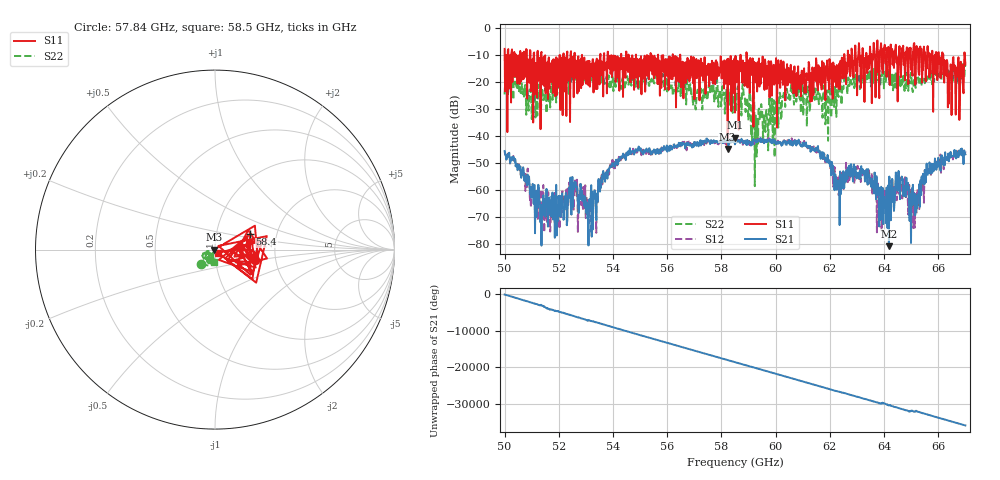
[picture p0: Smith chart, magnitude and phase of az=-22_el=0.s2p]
!Created with skrf (http://scikit-rf.org).
# GHz S RI R 50.0
!freq ReS11 ImS11 ReS21 ImS21 ReS12 ImS12 ReS22 ImS22
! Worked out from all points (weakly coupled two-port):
!   1001 points, 50 GHz to 67 GHz, reference 50 ohm
!   highest |S21| = -40.74 dB at 58.52 GHz (marker M1); lowest = -80.9 dB at 64.18 GHz (marker M2)
!   lowest |S11| = -44.9 dB at 58.23 GHz (marker M3), VSWR 1.01, Z = 49.4 - j0.0799 ohm
!   |S11| at or under -10 dB: 52.59 GHz to 53.53 GHz (947.1 MHz wide, 1.78 % of centre); 56.21 GHz to 58.92 GHz (2.718 GHz wide, 4.72 % of centre); 58.93 GHz to 62.53 GHz (3.599 GHz wide, 5.93 % of centre) (the widest 3 of 65)
!   |S22| runs from -58.7 to -13.2 dB; largest |S21 - S12| = 0.0024
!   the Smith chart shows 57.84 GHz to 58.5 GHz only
!   S11 on the Smith chart (normalised r, x): 57.84 GHz: 1.55, -0.20; 58.4 GHz: 1.45, +0.26; 58.5 GHz: 1.04, -0.04
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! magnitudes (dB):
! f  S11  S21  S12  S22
! 50 GHz  -7.9  -45.7  -45.8  -24.7
! 51.41 GHz  -15.3  -63.9  -60.9  -24.7
! 52.84 GHz  -11.4  -63.0  -65.7  -19.7
! 53.16 GHz  -13.6  -66.6  -66.4  -16.6
! 53.96 GHz  -18.2  -51.3  -51.4  -18.4
! 55.68 GHz  -13.5  -46.6  -45.4  -20.9
! 57.84 GHz  -12.8  -42.0  -42.4  -19.1
! 58.23 GHz  -44.9  -41.2  -41.5  -22.8
! 58.4 GHz  -13.5  -41.2  -41.8  -25.5
! 58.5 GHz  -31.5  -43.2  -41.7  -23.4
! 58.52 GHz  -10.5  -40.7  -41.3  -25.4
! 59.32 GHz  -23.7  -42.3  -41.5  -33.5
! 60.34 GHz  -15.4  -42.4  -42.4  -26.0
! 61.34 GHz  -27.2  -45.0  -44.4  -26.3
! 62.31 GHz  -15.7  -56.5  -58.3  -25.4
! 63.19 GHz  -11.0  -53.1  -54.1  -19.9
! 64.18 GHz  -11.7  -80.9  -72.4  -17.5
! 64.6 GHz  -16.9  -57.3  -60.0  -21.7
! 65.11 GHz  -5.7  -65.5  -63.3  -17.3
! 65.62 GHz  -9.7  -53.9  -52.5  -19.0
! 66.44 GHz  -18.6  -48.1  -47.3  -16.2
! 67 GHz  -13.7  -46.9  -45.8  -14.5
